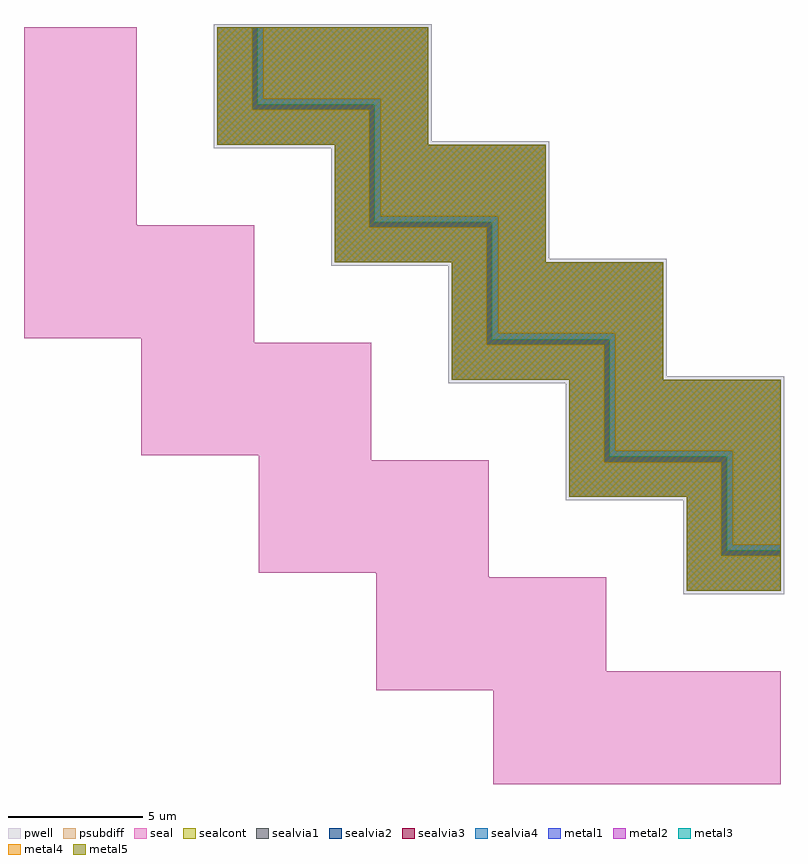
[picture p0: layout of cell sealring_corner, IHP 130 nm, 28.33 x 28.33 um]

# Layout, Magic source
magic
tech ihp-sg13cmos5l
magscale 1 2
<< pwell >>
rect -26 3351 1601 4226
rect -26 3299 2476 3351
rect 849 2476 2476 3299
rect 849 2424 3351 2476
rect 1724 1601 3351 2424
rect 1724 1549 4226 1601
rect 2599 674 4226 1549
rect 3474 -26 4226 674
<< sealcont >>
rect 260 3617 292 4200
rect 260 3585 1167 3617
rect 1135 2742 1167 3585
rect 1135 2710 2042 2742
rect 2010 1867 2042 2710
rect 2010 1835 2917 1867
rect 2885 992 2917 1835
rect 2885 960 3792 992
rect 3760 292 3792 960
rect 3760 260 4200 292
<< psubdiff >>
rect 0 3585 260 4200
rect 292 3617 1575 4200
rect 0 3325 1135 3585
rect 875 2710 1135 3325
rect 1167 3325 1575 3617
rect 1167 2742 2450 3325
rect 875 2450 2010 2710
rect 1750 1835 2010 2450
rect 2042 2450 2450 2742
rect 2042 1867 3325 2450
rect 1750 1575 2885 1835
rect 2625 960 2885 1575
rect 2917 1575 3325 1867
rect 2917 992 4200 1575
rect 2625 700 3760 960
rect 3500 260 3760 700
rect 3792 292 4200 992
rect 3500 0 4200 260
<< metal1 >>
rect 0 3585 260 4200
rect 298 3623 1575 4200
rect 0 3325 1135 3585
rect 875 2710 1135 3325
rect 1173 3325 1575 3623
rect 1173 2748 2450 3325
rect 875 2450 2010 2710
rect 1750 1835 2010 2450
rect 2048 2450 2450 2748
rect 2048 1873 3325 2450
rect 1750 1575 2885 1835
rect 2625 960 2885 1575
rect 2923 1575 3325 1873
rect 2923 998 4200 1575
rect 2625 700 3760 960
rect 3500 260 3760 700
rect 3798 298 4200 998
rect 3500 0 4200 260
<< sealvia1 >>
rect 260 3623 298 4200
rect 260 3585 1173 3623
rect 1135 2748 1173 3585
rect 1135 2710 2048 2748
rect 2010 1873 2048 2710
rect 2010 1835 2923 1873
rect 2885 998 2923 1835
rect 2885 960 3798 998
rect 3760 298 3798 960
rect 3760 260 4200 298
<< metal2 >>
rect 0 3585 260 4200
rect 298 3623 1575 4200
rect 0 3325 1135 3585
rect 875 2710 1135 3325
rect 1173 3325 1575 3623
rect 1173 2748 2450 3325
rect 875 2450 2010 2710
rect 1750 1835 2010 2450
rect 2048 2450 2450 2748
rect 2048 1873 3325 2450
rect 1750 1575 2885 1835
rect 2625 960 2885 1575
rect 2923 1575 3325 1873
rect 2923 998 4200 1575
rect 2625 700 3760 960
rect 3500 260 3760 700
rect 3798 298 4200 998
rect 3500 0 4200 260
<< sealvia2 >>
rect 260 3623 298 4200
rect 260 3585 1173 3623
rect 1135 2748 1173 3585
rect 1135 2710 2048 2748
rect 2010 1873 2048 2710
rect 2010 1835 2923 1873
rect 2885 998 2923 1835
rect 2885 960 3798 998
rect 3760 298 3798 960
rect 3760 260 4200 298
<< metal3 >>
rect 0 3585 260 4200
rect 298 3623 1575 4200
rect 0 3325 1135 3585
rect 875 2710 1135 3325
rect 1173 3325 1575 3623
rect 1173 2748 2450 3325
rect 875 2450 2010 2710
rect 1750 1835 2010 2450
rect 2048 2450 2450 2748
rect 2048 1873 3325 2450
rect 1750 1575 2885 1835
rect 2625 960 2885 1575
rect 2923 1575 3325 1873
rect 2923 998 4200 1575
rect 2625 700 3760 960
rect 3500 260 3760 700
rect 3798 298 4200 998
rect 3500 0 4200 260
<< sealvia3 >>
rect 260 3623 298 4200
rect 260 3585 1173 3623
rect 1135 2748 1173 3585
rect 1135 2710 2048 2748
rect 2010 1873 2048 2710
rect 2010 1835 2923 1873
rect 2885 998 2923 1835
rect 2885 960 3798 998
rect 3760 298 3798 960
rect 3760 260 4200 298
<< metal4 >>
rect 0 3585 260 4200
rect 344 3669 1575 4200
rect 0 3325 1135 3585
rect 875 2710 1135 3325
rect 1219 3325 1575 3669
rect 1219 2794 2450 3325
rect 875 2450 2010 2710
rect 1750 1835 2010 2450
rect 2094 2450 2450 2794
rect 2094 1919 3325 2450
rect 1750 1575 2885 1835
rect 2625 960 2885 1575
rect 2969 1575 3325 1919
rect 2969 1044 4200 1575
rect 2625 700 3760 960
rect 3500 260 3760 700
rect 3844 344 4200 1044
rect 3500 0 4200 260
<< sealvia4 >>
rect 260 3669 344 4200
rect 260 3585 1219 3669
rect 1135 2794 1219 3585
rect 1135 2710 2094 2794
rect 2010 1919 2094 2710
rect 2010 1835 2969 1919
rect 2885 1044 2969 1835
rect 2885 960 3844 1044
rect 3760 344 3844 960
rect 3760 260 4200 344
<< metal5 >>
rect 0 3325 1575 4200
rect 875 2450 2450 3325
rect 1750 1575 3325 2450
rect 2625 700 4200 1575
rect 3500 0 4200 700
<< seal >>
rect -1440 2725 -600 4200
rect -1440 1885 275 2725
rect -565 1850 275 1885
rect -565 1010 1150 1850
rect 310 975 1150 1010
rect 310 135 2025 975
rect 1185 100 2025 135
rect 1185 -600 2900 100
rect 1185 -740 4200 -600
rect 2060 -1440 4200 -740
<< properties >>
string FIXED_BBOX -1440 -1440 4200 4200
<< end >>
